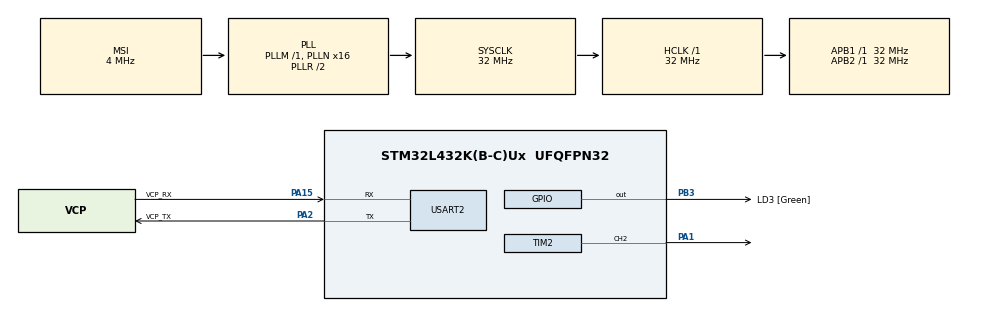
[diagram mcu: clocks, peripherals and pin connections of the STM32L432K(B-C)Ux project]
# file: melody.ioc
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Mcu.Family=STM32L4
RCC.MSI_VALUE=4000000
PA14\ (JTCK-SWCLK).Mode=Serial_Wire
RCC.CortexFreq_Value=32000000
PA0.GPIO_Label=MCO [High speed clock in]
PC15-OSC32_OUT\ (PC15).Signal=RCC_OSC32_OUT
PA15\ (JTDI).Signal=USART2_RX
PB3\ (JTDO-TRACESWO).GPIO_Label=LD3 [Green]
PA14\ (JTCK-SWCLK).GPIO_Label=SWCLK
PC15-OSC32_OUT\ (PC15).Mode=LSE-External-Oscillator
TIM2.Channel-PWM\ Generation2\ CH2=TIM_CHANNEL_2
RCC.SYSCLKSource=RCC_SYSCLKSOURCE_PLLCLK
ProjectManager.StackSize=0x400
PB3\ (JTDO-TRACESWO).Signal=GPIO_Output
PC14-OSC32_IN\ (PC14).Mode=LSE-External-Oscillator
PA14\ (JTCK-SWCLK).Signal=SYS_JTCK-SWCLK
RCC.HSI16_VALUE=16000000
SH.S_TIM2_CH2.0=TIM2_CH2,PWM Generation2 CH2
PA15\ (JTDI).Mode=Asynchronous
ProjectManager.TargetToolchain=Makefile
RCC.HCLKFreq_Value=32000000
RCC.APB2TimFreq_Value=32000000
PA1.Signal=S_TIM2_CH2
RCC.AHBFreq_Value=32000000
RCC.HSE_VALUE=8000000
board=NUCLEO-L432KC
USART2.VirtualMode-Asynchronous=VM_ASYNC
RCC.VCOOutputFreq_Value=64000000
RCC.PLLMUL=RCC_PLLMUL_4
RCC.APB2Freq_Value=32000000
PA13\ (JTMS-SWDIO).GPIO_Label=SWDIO
PA0.Mode=HSE-External-Clock-Source-for-LittleOrca
TIM2.Period=122310
PA15\ (JTDI).GPIO_Label=VCP_RX
Mcu.Name=STM32L432K(B-C)Ux
PA2.Signal=USART2_TX
PA0.Signal=RCC_CK_IN
PA13\ (JTMS-SWDIO).Mode=Serial_Wire
RCC.SYSCLKFreq_VALUE=32000000
Mcu.Package=UFQFPN32
PC14-OSC32_IN\ (PC14).Signal=RCC_OSC32_IN
PA2.GPIO_Label=VCP_TX
ProjectManager.HeapSize=0x200
TIM2.Pulse-PWM\ Generation2\ CH2=122310/2
RCC.HSI_VALUE=16000000
NVIC.PriorityGroup=NVIC_PRIORITYGROUP_4
RCC.PLLN=16
RCC.APB1TimFreq_Value=32000000
PA2.Mode=Asynchronous
PA13\ (JTMS-SWDIO).Signal=SYS_JTMS-SWDIO
RCC.APB1Freq_Value=32000000
RCC.HSI48_VALUE=48000000

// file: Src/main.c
/* USER CODE BEGIN Header */
/**
  ******************************************************************************
  * @file           : main.c
  * @brief          : Main program body
  ******************************************************************************
  * @attention
  *
  * <h2><center>&copy; Copyright (c) 2021 STMicroelectronics.
  * All rights reserved.</center></h2>
  *
  * This software component is licensed by ST under BSD 3-Clause license,
  * the "License"; You may not use this file except in compliance with the
  * License. You may obtain a copy of the License at:
  *                        opensource.org/licenses/BSD-3-Clause
  *
  ******************************************************************************
  */
/* USER CODE END Header */

#include "main.h"

/* USER CODE BEGIN Includes */
enum notes {
    C4 = 261, // (261 Hz)
    D4 = 293, // (293 Hz)
    E4 = 329, // (329 Hz)
    F4 = 349, // (349 Hz)
    G4 = 392, // (392 Hz)
    A4 = 440, // (440 Hz)
    B4 = 493, // (493 Hz)
    C5 = 523  // (523 Hz)
  };
enum notes A[] = {G4,G4,A4,A4,G4,G4,E4,G4,G4,E4,E4,D4,
                    G4,G4,A4,A4,G4,G4,E4,G4,E4,D4,E4,C4};
/* USER CODE END Includes */

TIM_HandleTypeDef htim2;

UART_HandleTypeDef huart2;

/* USER CODE BEGIN PV */
static void freq_set(int x){
    int freq = 32000000/x;
    __HAL_TIM_SET_COUNTER(&htim2, 0);
    __HAL_TIM_SET_AUTORELOAD(&htim2 , freq);
    __HAL_TIM_SET_COMPARE(&htim2, TIM_CHANNEL_2, freq/2);

}

static void tone_stop(){
  HAL_TIM_PWM_Stop(&htim2, TIM_CHANNEL_2);
}

static void tone_start(){
  HAL_TIM_PWM_Start(&htim2, TIM_CHANNEL_2);
}
/* USER CODE END PV */

void SystemClock_Config(void);
static void MX_GPIO_Init(void);
static void MX_TIM2_Init(void);
static void MX_USART2_UART_Init(void);

int main(void)
{

  /* MCU Configuration--------------------------------------------------------*/

  /* Reset of all peripherals, Initializes the Flash interface and the Systick. */
  HAL_Init();

  /* Configure the system clock */
  SystemClock_Config();

  /* Initialize all configured peripherals */
  MX_GPIO_Init();
  MX_TIM2_Init();
  MX_USART2_UART_Init();

  /* Infinite loop */
  /* USER CODE BEGIN WHILE */
  while (1)
  {
    for (int i = 0 ; i < sizeof(A)/sizeof(enum notes) ; i++) {
	        freq_set(A[i]);
	        HAL_Delay(500);

	        /* Make each note sound and cut off 10 milliseconds */
	        tone_stop();
	        HAL_Delay(10);
	        tone_start();
	      }

	      /* After the music ends, repeat after 50 seconds  */
	      tone_stop();
	      HAL_Delay(50000);
	      tone_start();

    /*freq_set(999);

    HAL_TIM_PWM_Start(&htim2, TIM_CHANNEL_2);
    HAL_Delay(100);
    HAL_TIM_PWM_Stop(&htim2, TIM_CHANNEL_2);
    HAL_Delay(500);

    freq_set(5000);

    HAL_TIM_PWM_Start(&htim2, TIM_CHANNEL_2);
    HAL_Delay(100);
    HAL_TIM_PWM_Stop(&htim2, TIM_CHANNEL_2);
    HAL_Delay(500);
    */
    /* USER CODE END WHILE */

  }
}

void SystemClock_Config(void)
{
  RCC_OscInitTypeDef RCC_OscInitStruct = {0};
  RCC_ClkInitTypeDef RCC_ClkInitStruct = {0};
  RCC_PeriphCLKInitTypeDef PeriphClkInit = {0};

  /** Configure LSE Drive Capability
  */
  HAL_PWR_EnableBkUpAccess();
  __HAL_RCC_LSEDRIVE_CONFIG(RCC_LSEDRIVE_LOW);
  /** Initializes the CPU, AHB and APB busses clocks
  */
  RCC_OscInitStruct.OscillatorType = RCC_OSCILLATORTYPE_LSE|RCC_OSCILLATORTYPE_MSI;
  RCC_OscInitStruct.LSEState = RCC_LSE_ON;
  RCC_OscInitStruct.MSIState = RCC_MSI_ON;
  RCC_OscInitStruct.MSICalibrationValue = 0;
  RCC_OscInitStruct.MSIClockRange = RCC_MSIRANGE_6;
  RCC_OscInitStruct.PLL.PLLState = RCC_PLL_ON;
  RCC_OscInitStruct.PLL.PLLSource = RCC_PLLSOURCE_MSI;
  RCC_OscInitStruct.PLL.PLLM = 1;
  RCC_OscInitStruct.PLL.PLLN = 16;
  RCC_OscInitStruct.PLL.PLLP = RCC_PLLP_DIV7;
  RCC_OscInitStruct.PLL.PLLQ = RCC_PLLQ_DIV2;
  RCC_OscInitStruct.PLL.PLLR = RCC_PLLR_DIV2;
  if (HAL_RCC_OscConfig(&RCC_OscInitStruct) != HAL_OK)
  {
    Error_Handler();
  }
  /** Initializes the CPU, AHB and APB busses clocks
  */
  RCC_ClkInitStruct.ClockType = RCC_CLOCKTYPE_HCLK|RCC_CLOCKTYPE_SYSCLK
                              |RCC_CLOCKTYPE_PCLK1|RCC_CLOCKTYPE_PCLK2;
  RCC_ClkInitStruct.SYSCLKSource = RCC_SYSCLKSOURCE_PLLCLK;
  RCC_ClkInitStruct.AHBCLKDivider = RCC_SYSCLK_DIV1;
  RCC_ClkInitStruct.APB1CLKDivider = RCC_HCLK_DIV1;
  RCC_ClkInitStruct.APB2CLKDivider = RCC_HCLK_DIV1;

  if (HAL_RCC_ClockConfig(&RCC_ClkInitStruct, FLASH_LATENCY_1) != HAL_OK)
  {
    Error_Handler();
  }
  PeriphClkInit.PeriphClockSelection = RCC_PERIPHCLK_USART2;
  PeriphClkInit.Usart2ClockSelection = RCC_USART2CLKSOURCE_PCLK1;
  if (HAL_RCCEx_PeriphCLKConfig(&PeriphClkInit) != HAL_OK)
  {
    Error_Handler();
  }
  /** Configure the main internal regulator output voltage
  */
  if (HAL_PWREx_ControlVoltageScaling(PWR_REGULATOR_VOLTAGE_SCALE1) != HAL_OK)
  {
    Error_Handler();
  }
  /** Enable MSI Auto calibration
  */
  HAL_RCCEx_EnableMSIPLLMode();
}

static void MX_TIM2_Init(void)
{

  TIM_MasterConfigTypeDef sMasterConfig = {0};
  TIM_OC_InitTypeDef sConfigOC = {0};

  htim2.Instance = TIM2;
  htim2.Init.Prescaler = 0;
  htim2.Init.CounterMode = TIM_COUNTERMODE_UP;
  htim2.Init.Period = 122310;
  htim2.Init.ClockDivision = TIM_CLOCKDIVISION_DIV1;
  htim2.Init.AutoReloadPreload = TIM_AUTORELOAD_PRELOAD_DISABLE;
  if (HAL_TIM_PWM_Init(&htim2) != HAL_OK)
  {
    Error_Handler();
  }
  sMasterConfig.MasterOutputTrigger = TIM_TRGO_RESET;
  sMasterConfig.MasterSlaveMode = TIM_MASTERSLAVEMODE_DISABLE;
  if (HAL_TIMEx_MasterConfigSynchronization(&htim2, &sMasterConfig) != HAL_OK)
  {
    Error_Handler();
  }
  sConfigOC.OCMode = TIM_OCMODE_PWM1;
  sConfigOC.Pulse = 122310/2;
  sConfigOC.OCPolarity = TIM_OCPOLARITY_HIGH;
  sConfigOC.OCFastMode = TIM_OCFAST_DISABLE;
  if (HAL_TIM_PWM_ConfigChannel(&htim2, &sConfigOC, TIM_CHANNEL_2) != HAL_OK)
  {
    Error_Handler();
  }
  HAL_TIM_MspPostInit(&htim2);

}

static void MX_USART2_UART_Init(void)
{

  huart2.Instance = USART2;
  huart2.Init.BaudRate = 115200;
  huart2.Init.WordLength = UART_WORDLENGTH_8B;
  huart2.Init.StopBits = UART_STOPBITS_1;
  huart2.Init.Parity = UART_PARITY_NONE;
  huart2.Init.Mode = UART_MODE_TX_RX;
  huart2.Init.HwFlowCtl = UART_HWCONTROL_NONE;
  huart2.Init.OverSampling = UART_OVERSAMPLING_16;
  huart2.Init.OneBitSampling = UART_ONE_BIT_SAMPLE_DISABLE;
  huart2.AdvancedInit.AdvFeatureInit = UART_ADVFEATURE_NO_INIT;
  if (HAL_UART_Init(&huart2) != HAL_OK)
  {
    Error_Handler();
  }

}

static void MX_GPIO_Init(void)
{
  GPIO_InitTypeDef GPIO_InitStruct = {0};

  /* GPIO Ports Clock Enable */
  __HAL_RCC_GPIOC_CLK_ENABLE();
  __HAL_RCC_GPIOA_CLK_ENABLE();
  __HAL_RCC_GPIOB_CLK_ENABLE();

  /*Configure GPIO pin Output Level */
  HAL_GPIO_WritePin(LD3_GPIO_Port, LD3_Pin, GPIO_PIN_RESET);

  /*Configure GPIO pin : LD3_Pin */
  GPIO_InitStruct.Pin = LD3_Pin;
  GPIO_InitStruct.Mode = GPIO_MODE_OUTPUT_PP;
  GPIO_InitStruct.Pull = GPIO_NOPULL;
  GPIO_InitStruct.Speed = GPIO_SPEED_FREQ_LOW;
  HAL_GPIO_Init(LD3_GPIO_Port, &GPIO_InitStruct);

}

void Error_Handler(void)
{
}

/************************ (C) COPYRIGHT STMicroelectronics *****END OF FILE****/
